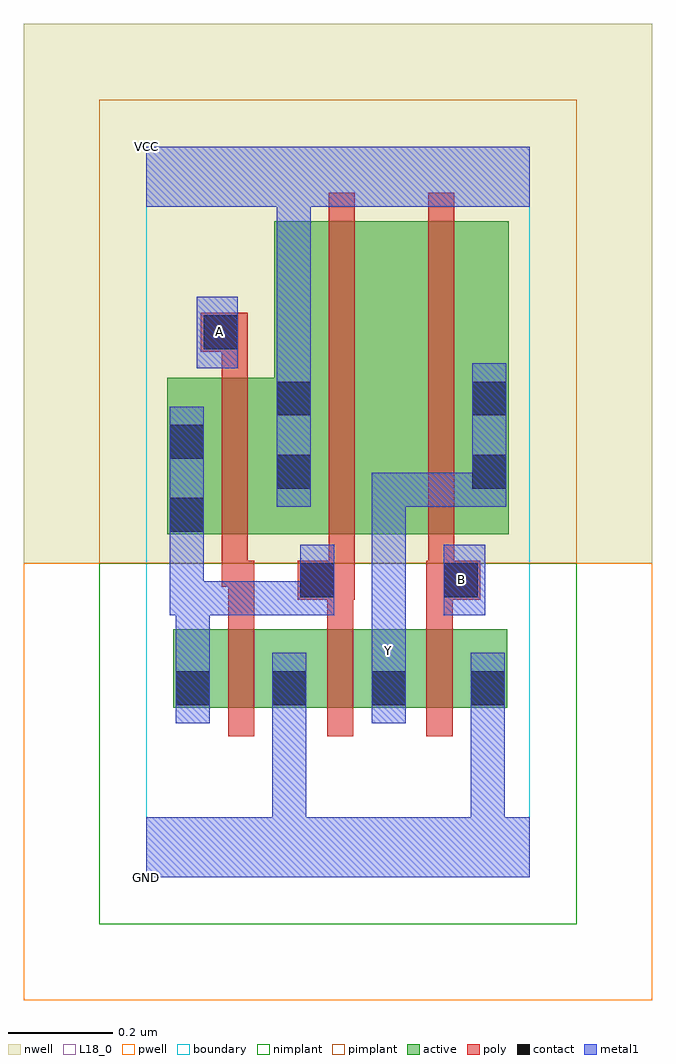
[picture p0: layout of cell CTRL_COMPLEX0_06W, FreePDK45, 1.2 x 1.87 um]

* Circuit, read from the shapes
.subckt CTRL_COMPLEX0_06W A B GND VCC Y
M1 GND A n1 VSUBS nfet w=0.15u l=0.05u
M2 Y n1 GND VSUBS nfet w=0.15u l=0.05u
M3 GND B Y VSUBS nfet w=0.15u l=0.05u
M4 VCC A n1 n2 pfet w=0.3u l=0.05u
M5 n3 n1 VCC n2 pfet w=0.6u l=0.05u
M6 Y B n3 n2 pfet w=0.6u l=0.05u
.ends

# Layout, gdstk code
import gdstk
lib = gdstk.Library(unit=1e-6, precision=1e-09)
def R(c, l, rs):  # rectangles x0, y0, x1, y1
    for r in rs: c.add(gdstk.rectangle(r[:2], r[2:], *l))
def A(c, l, x, y, w, h, nx, ny, dx, dy):  # array of equal rectangles
    R(c, l, [(x+i*dx, y+j*dy, x+i*dx+w, y+j*dy+h) for i in range(nx) for j in range(ny)])
active = (1, 0)
pwell = (2, 0)
nwell = (3, 0)
nimplant = (4, 0)
pimplant = (5, 0)
poly = (9, 0)
contact = (10, 0)
metal1 = (11, 0)
L18_0 = (18, 0)
boundary = (235, 0)

ctrl_complex0_06w = lib.new_cell('CTRL_COMPLEX0_06W')
R(ctrl_complex0_06w, active, [(0.052,0.325,0.127,0.475), (0.052,0.325,0.312,0.475), (0.237,0.325,0.312,0.475), (0.237,0.325,0.502,0.475), (0.427,0.325,0.692,0.475), (0.427,0.325,0.502,0.4), (0.617,0.325,0.692,0.475), (0.04,0.657,0.32,0.957), (0.04,0.657,0.115,0.957), (0.245,0.657,0.47,1.257), (0.245,0.657,0.32,1.14), (0.47,0.657,0.695,1.257), (0.62,0.657,0.695,1.2)])
R(ctrl_complex0_06w, pwell, [(-0.235,-0.235,0.97,0.602)])
R(ctrl_complex0_06w, nwell, [(-0.235,0.602,0.97,1.635)])
R(ctrl_complex0_06w, nimplant, [(-0.09,-0.09,0.825,0.602)])
R(ctrl_complex0_06w, pimplant, [(-0.09,0.602,0.825,1.49)])
A(ctrl_complex0_06w, poly, 0.157, 0.27, 0.05, 0.26, 3, 1, 0.19, 0)
R(ctrl_complex0_06w, poly, [(0.157,0.48,0.207,0.607), (0.347,0.48,0.397,0.582), (0.537,0.48,0.587,0.582), (0.29,0.532,0.4,0.607), (0.537,0.532,0.64,0.607), (0.145,0.557,0.195,0.652), (0.145,0.557,0.207,0.607), (0.35,0.557,0.4,0.652), (0.54,0.557,0.59,0.652), (0.145,0.602,0.195,1.012), (0.35,0.602,0.4,1.312), (0.54,0.602,0.59,1.312), (0.145,0.962,0.195,1.057), (0.105,1.007,0.195,1.082)])
A(ctrl_complex0_06w, contact, 0.242, 0.33, 0.065, 0.065, 3, 1, 0.19, 0)
R(ctrl_complex0_06w, contact, [(0.057,0.33,0.122,0.395), (0.295,0.537,0.36,0.602), (0.57,0.537,0.635,0.602), (0.045,0.662,0.11,0.727), (0.25,0.745,0.315,0.81), (0.625,0.745,0.69,0.81), (0.045,0.802,0.11,0.867), (0.25,0.885,0.315,0.95), (0.625,0.885,0.69,0.95), (0.11,1.012,0.175,1.077)])
A(ctrl_complex0_06w, metal1, 0.242, 0.295, 0.065, 0.135, 3, 1, 0.19, 0)
R(ctrl_complex0_06w, metal1, [(0,0,0.735,0.115), (0.242,0.05,0.307,0.36), (0.622,0.05,0.687,0.36), (0.622,0.05,0.687,0.115), (0.622,0.05,0.687,0.115), (0.622,0.05,0.687,0.115), (0.622,0.05,0.687,0.115), (0.057,0.295,0.122,0.43), (0.242,0.295,0.307,0.36), (0.242,0.295,0.307,0.36), (0.242,0.295,0.307,0.36), (0.242,0.295,0.307,0.36), (0.057,0.365,0.122,0.567), (0.432,0.365,0.497,0.43), (0.432,0.365,0.497,0.502), (0.432,0.437,0.497,0.775), (0.045,0.502,0.11,0.692), (0.045,0.502,0.122,0.567), (0.057,0.502,0.122,0.567), (0.057,0.502,0.122,0.567), (0.057,0.502,0.36,0.567), (0.295,0.502,0.36,0.637), (0.295,0.502,0.36,0.567), (0.295,0.502,0.36,0.567), (0.57,0.502,0.65,0.637), (0.045,0.627,0.11,0.902), (0.25,0.71,0.315,0.985), (0.432,0.71,0.69,0.775), (0.432,0.71,0.497,0.775), (0.432,0.71,0.497,0.775), (0.432,0.71,0.497,0.775), (0.625,0.71,0.69,0.985), (0.25,0.92,0.315,1.35), (0.097,0.975,0.175,1.112), (0,1.285,0.735,1.4)])
A(ctrl_complex0_06w, L18_0, 0.242, 0.295, 0.065, 0.135, 3, 1, 0.19, 0)
R(ctrl_complex0_06w, L18_0, [(0,0,0.735,0.115), (0.242,0.05,0.307,0.36), (0.622,0.05,0.687,0.115), (0.622,0.05,0.687,0.115), (0.622,0.05,0.687,0.115), (0.622,0.05,0.687,0.115), (0.622,0.05,0.687,0.36), (0.242,0.295,0.307,0.36), (0.242,0.295,0.307,0.36), (0.242,0.295,0.307,0.36), (0.242,0.295,0.307,0.36), (0.432,0.365,0.497,0.43), (0.432,0.365,0.497,0.502), (0.432,0.402,0.497,0.467), (0.432,0.437,0.497,0.775), (0.57,0.502,0.65,0.637), (0.572,0.537,0.637,0.602), (0.25,0.71,0.315,0.985), (0.432,0.71,0.497,0.775), (0.432,0.71,0.497,0.775), (0.432,0.71,0.497,0.775), (0.432,0.71,0.69,0.775), (0.625,0.71,0.69,0.985), (0.25,0.92,0.315,1.35), (0.097,0.975,0.175,1.112), (0.107,1.012,0.172,1.077), (0,1.285,0.735,1.4)])
R(ctrl_complex0_06w, boundary, [(0,0,0.735,1.4)])
ctrl_complex0_06w.add(gdstk.Label('A', (0.14,1.045), layer=11, texttype=0))
ctrl_complex0_06w.add(gdstk.Label('B', (0.605,0.57), layer=11, texttype=0))
ctrl_complex0_06w.add(gdstk.Label('Y', (0.465,0.435), layer=11, texttype=0))
ctrl_complex0_06w.add(gdstk.Label('VCC', (0,1.4), layer=11, texttype=0))
ctrl_complex0_06w.add(gdstk.Label('GND', (0,0), layer=11, texttype=0))

lib.write_gds('CTRL_COMPLEX0_06W.gds')
